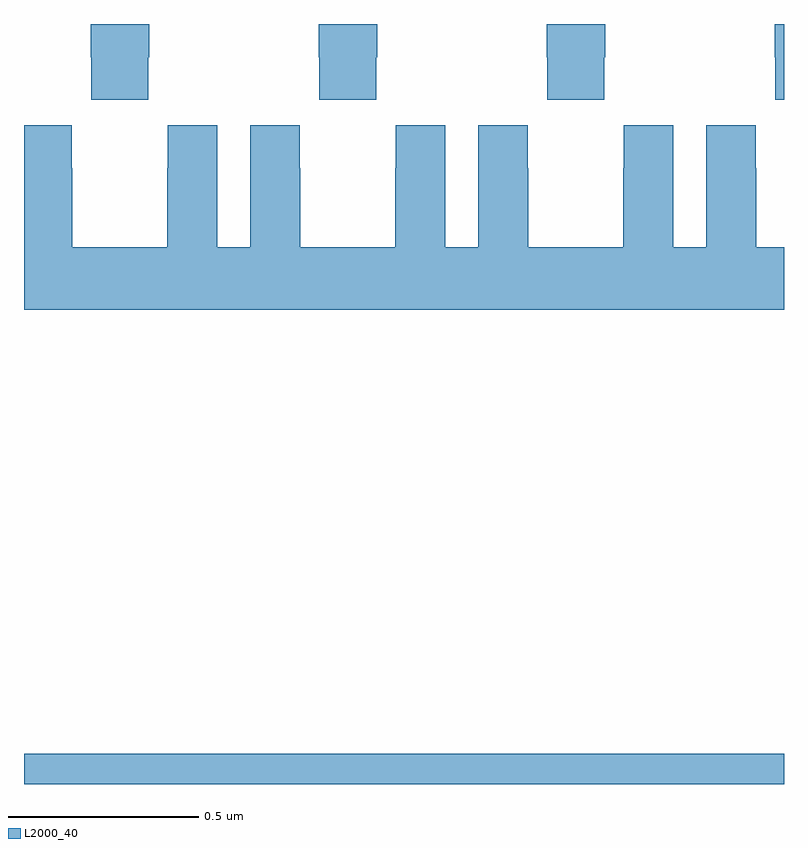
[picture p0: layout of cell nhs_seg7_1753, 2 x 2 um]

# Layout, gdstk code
import gdstk
lib = gdstk.Library(unit=1e-6, precision=1e-09)
def R(c, l, rs):  # rectangles x0, y0, x1, y1
    for r in rs: c.add(gdstk.rectangle(r[:2], r[2:], *l))
def P(c, l, *ps):  # polygons
    for p in ps: c.add(gdstk.Polygon(p, *l))
L2000_40 = (2000, 40)

nhs_seg7_1753 = lib.new_cell('nhs_seg7_1753')
R(nhs_seg7_1753, L2000_40, [(135,1034,137,1034.08)])
P(nhs_seg7_1753, L2000_40, [(135.327,1035.913),(135.33,1035.913),(135.33,1036),(135.175,1036),(135.175,1035.913),(135.177,1035.913),(135.177,1035.801),(135.327,1035.801)],
  [(135.927,1035.913),(135.93,1035.913),(135.93,1036),(135.775,1036),(135.775,1035.913),(135.777,1035.913),(135.777,1035.801),(135.927,1035.801)],
  [(136.527,1035.913),(136.53,1035.913),(136.53,1036),(136.375,1036),(136.375,1035.913),(136.377,1035.913),(136.377,1035.801),(136.527,1035.801)],
  [(137,1036),(136.975,1036),(136.975,1035.913),(136.977,1035.913),(136.977,1035.801),(137,1035.801)],
  [(137,1035.412),(136.927,1035.412),(136.927,1035.62),(136.926,1035.62),(136.926,1035.733),(136.796,1035.733),(136.796,1035.412),(136.708,1035.412),(136.708,1035.733),(136.578,1035.733),(136.578,1035.62),(136.577,1035.62),(136.577,1035.412),(136.327,1035.412),(136.327,1035.62),(136.326,1035.62),(136.326,1035.733),(136.196,1035.733),(136.196,1035.412),(136.108,1035.412),(136.108,1035.733),(135.978,1035.733),(135.978,1035.62),(135.977,1035.62),(135.977,1035.412),(135.727,1035.412),(135.727,1035.62),(135.726,1035.62),(135.726,1035.733),(135.596,1035.733),(135.596,1035.412),(135.508,1035.412),(135.508,1035.733),(135.378,1035.733),(135.378,1035.62),(135.377,1035.62),(135.377,1035.412),(135.127,1035.412),(135.127,1035.62),(135.126,1035.62),(135.126,1035.733),(135,1035.733),(135,1035.248),(137,1035.248)])

lib.write_gds('nhs_seg7_1753.gds')
